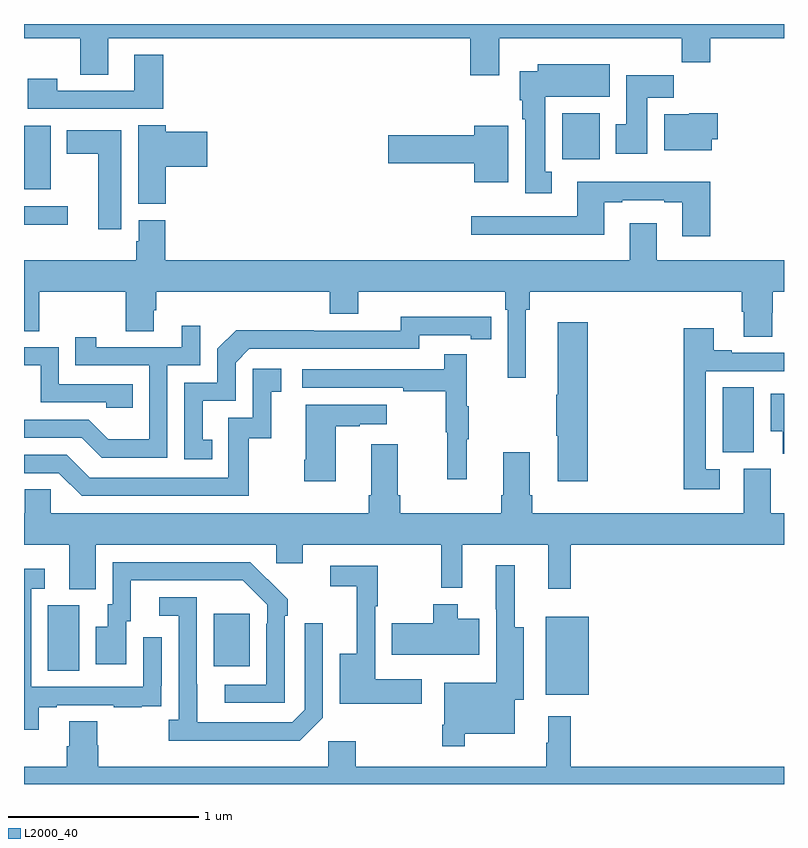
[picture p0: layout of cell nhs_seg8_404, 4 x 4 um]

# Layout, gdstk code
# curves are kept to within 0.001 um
import gdstk
lib = gdstk.Library(unit=1e-6, precision=1e-09)
def R(c, l, rs):  # rectangles x0, y0, x1, y1
    for r in rs: c.add(gdstk.rectangle(r[:2], r[2:], *l))
def P(c, l, *ps):  # polygons
    for p in ps: c.add(gdstk.Polygon(p, *l))
L2000_40 = (2000, 40)

nhs_seg8_404 = lib.new_cell('nhs_seg8_404')
R(nhs_seg8_404, L2000_40, [(139.745,1122.371,139.972,1122.781), (137.126,1122.496,137.29,1122.84), (137.999,1122.521,138.187,1122.796), (140.678,1123.645,140.842,1123.988), (137,1124.843,137.23,1124.94), (137,1125.029,137.14,1125.364), (139.832,1125.188,140.029,1125.43)])
P(nhs_seg8_404, L2000_40, [(139.501,1125.824),(140.461,1125.824),(140.461,1125.7),(140.613,1125.7),(140.613,1125.824),(141,1125.824),(141,1125.9),(137,1125.9),(137,1125.824),(137.296,1125.824),(137.296,1125.634),(137.443,1125.634),(137.443,1125.824),(139.349,1125.824),(139.349,1125.63),(139.501,1125.63)],
  [(137.732,1125.739),(137.579,1125.739),(137.579,1125.549),(137.175,1125.549),(137.175,1125.613),(137.019,1125.613),(137.019,1125.453),(137.732,1125.453)],
  [(139.777,1125.122),(139.744,1125.122),(139.744,1125.518),(140.083,1125.518),(140.083,1125.688),(139.703,1125.688),(139.703,1125.652),(139.61,1125.652),(139.61,1125.498),(139.622,1125.498),(139.622,1125.398),(139.637,1125.398),(139.637,1125.009),(139.777,1125.009)],
  [(140.281,1125.512),(140.42,1125.512),(140.42,1125.63),(140.171,1125.63),(140.171,1125.372),(140.114,1125.372),(140.114,1125.216),(140.281,1125.216)],
  [(140.62,1125.294),(140.651,1125.294),(140.651,1125.43),(140.502,1125.43),(140.502,1125.424),(140.369,1125.424),(140.369,1125.236),(140.62,1125.236)],
  [(137.747,1125.149),(137.965,1125.149),(137.965,1125.332),(137.747,1125.332),(137.747,1125.368),(137.6,1125.368),(137.6,1124.953),(137.747,1124.953)],
  [(139.549,1125.364),(139.37,1125.364),(139.37,1125.314),(138.918,1125.314),(138.918,1125.167),(139.37,1125.167),(139.37,1125.068),(139.549,1125.068)],
  [(137.512,1125.34),(137.225,1125.34),(137.225,1125.218),(137.39,1125.218),(137.39,1124.82),(137.512,1124.82)],
  [(140.613,1125.07),(139.913,1125.07),(139.913,1124.889),(139.353,1124.889),(139.353,1124.792),(140.053,1124.792),(140.053,1124.961),(140.149,1124.961),(140.149,1124.973),(140.369,1124.973),(140.369,1124.961),(140.465,1124.961),(140.465,1124.784),(140.613,1124.784)],
  [(139.642,1124.396),(139.661,1124.396),(139.661,1124.492),(140.777,1124.492),(140.777,1124.386),(140.789,1124.386),(140.789,1124.254),(140.937,1124.254),(140.937,1124.379),(140.942,1124.379),(140.942,1124.492),(141,1124.492),(141,1124.656),(140.329,1124.656),(140.329,1124.851),(140.189,1124.851),(140.189,1124.656),(137.744,1124.656),(137.744,1124.868),(137.603,1124.868),(137.603,1124.757),(137.591,1124.757),(137.591,1124.656),(137,1124.656),(137,1124.284),(137.079,1124.284),(137.079,1124.492),(137.536,1124.492),(137.536,1124.284),(137.683,1124.284),(137.683,1124.394),(137.696,1124.394),(137.696,1124.492),(138.608,1124.492),(138.608,1124.375),(138.76,1124.375),(138.76,1124.492),(139.532,1124.492),(139.532,1124.396),(139.545,1124.396),(139.545,1124.037),(139.642,1124.037)],
  [(137.99,1123.713),(137.941,1123.713),(137.941,1123.917),(138.114,1123.917),(138.114,1124.118),(138.186,1124.19),(139.08,1124.19),(139.08,1124.262),(139.352,1124.262),(139.352,1124.242),(139.46,1124.242),(139.46,1124.358),(138.984,1124.359),(138.984,1124.286),(138.524,1124.286),(138.524,1124.288),(138.116,1124.288),(138.018,1124.19),(138.018,1124.013),(137.844,1124.013),(137.844,1123.608),(137.99,1123.608)],
  [(139.967,1124.329),(139.808,1124.329),(139.808,1123.949),(139.801,1123.949),(139.801,1123.732),(139.808,1123.732),(139.808,1123.494),(139.967,1123.494)],
  [(137.754,1124.103),(137.928,1124.103),(137.928,1124.311),(137.831,1124.311),(137.831,1124.199),(137.38,1124.199),(137.38,1124.251),(137.269,1124.251),(137.269,1124.103),(137.658,1124.103),(137.658,1123.714),(137.444,1123.714),(137.34,1123.818),(137,1123.818),(137,1123.722),(137.303,1123.722),(137.408,1123.617),(137.754,1123.617)],
  [(140.662,1123.557),(140.589,1123.557),(140.589,1124.073),(141,1124.073),(141,1124.169),(140.725,1124.169),(140.725,1124.182),(140.629,1124.182),(140.629,1124.299),(140.473,1124.299),(140.473,1123.452),(140.662,1123.452)],
  [(137.573,1124.004),(137.184,1124.004),(137.184,1124.199),(137,1124.199),(137,1124.103),(137.088,1124.103),(137.088,1123.908),(137.433,1123.908),(137.433,1123.881),(137.573,1123.881)],
  [(139.331,1123.715),(139.342,1123.715),(139.342,1123.889),(139.331,1123.889),(139.331,1124.161),(139.213,1124.161),(139.213,1124.082),(138.465,1124.082),(138.465,1123.986),(138.997,1123.986),(138.997,1123.966),(139.221,1123.966),(139.221,1123.752),(139.228,1123.752),(139.228,1123.503),(139.331,1123.503)],
  [(138.184,1123.719),(138.302,1123.719),(138.302,1123.965),(138.355,1123.965),(138.355,1124.086),(138.204,1124.086),(138.204,1123.827),(138.075,1123.827),(138.075,1123.512),(137.346,1123.512),(137.226,1123.632),(137,1123.632),(137,1123.536),(137.184,1123.536),(137.304,1123.416),(138.184,1123.416)],
  [(141,1123.954),(140.93,1123.954),(140.93,1123.757),(140.993,1123.757),(140.993,1123.638),(141,1123.638)],
  [(138.64,1123.783),(138.767,1123.783),(138.767,1123.793),(138.91,1123.793),(138.91,1123.897),(138.482,1123.897),(138.482,1123.606),(138.475,1123.606),(138.475,1123.494),(138.64,1123.494)],
  [(137.377,1123.16),(138.327,1123.16),(138.327,1123.062),(138.466,1123.062),(138.466,1123.16),(139.197,1123.16),(139.197,1122.932),(139.307,1122.932),(139.307,1123.16),(139.76,1123.16),(139.76,1122.927),(139.877,1122.927),(139.877,1123.16),(141,1123.16),(141,1123.324),(140.929,1123.324),(140.929,1123.56),(140.789,1123.56),(140.789,1123.324),(139.676,1123.324),(139.676,1123.42),(139.663,1123.42),(139.663,1123.645),(139.523,1123.645),(139.523,1123.42),(139.511,1123.42),(139.511,1123.324),(138.98,1123.324),(138.98,1123.42),(138.967,1123.42),(138.967,1123.687),(138.827,1123.687),(138.827,1123.42),(138.815,1123.42),(138.815,1123.324),(137.142,1123.324),(137.142,1123.451),(137.003,1123.451),(137.003,1123.324),(137,1123.324),(137,1123.16),(137.237,1123.16),(137.237,1122.925),(137.377,1122.925)],
  [(138.372,1122.785),(138.387,1122.785),(138.387,1122.873),(138.19,1123.068),(137.466,1123.068),(137.466,1122.846),(137.441,1122.846),(137.441,1122.727),(137.378,1122.727),(137.378,1122.531),(137.539,1122.531),(137.539,1122.756),(137.563,1122.756),(137.563,1122.972),(138.151,1122.972),(138.279,1122.843),(138.279,1122.743),(138.276,1122.743),(138.276,1122.423),(138.057,1122.423),(138.057,1122.327),(138.372,1122.327)],
  [(139.321,1122.164),(139.582,1122.164),(139.582,1122.344),(139.63,1122.344),(139.63,1122.724),(139.583,1122.724),(139.583,1123.051),(139.484,1123.051),(139.484,1122.82),(139.485,1122.82),(139.485,1122.433),(139.212,1122.433),(139.212,1122.211),(139.2,1122.211),(139.2,1122.099),(139.321,1122.099)],
  [(139.093,1122.451),(138.849,1122.451),(138.849,1122.835),(138.862,1122.835),(138.862,1123.05),(138.612,1123.05),(138.612,1122.942),(138.752,1122.942),(138.752,1122.586),(138.662,1122.586),(138.662,1122.322),(139.093,1122.322)],
  [(137.077,1122.303),(137.173,1122.303),(137.173,1122.315),(137.473,1122.315),(137.473,1122.303),(137.621,1122.303),(137.621,1122.309),(137.723,1122.309),(137.723,1122.418),(137.724,1122.418),(137.724,1122.673),(137.628,1122.673),(137.628,1122.411),(137.037,1122.411),(137.037,1122.927),(137.11,1122.927),(137.11,1123.033),(137,1123.033),(137,1122.186),(137.077,1122.186)],
  [(138.573,1122.249),(138.573,1122.745),(138.477,1122.745),(138.477,1122.291),(138.411,1122.225),(137.911,1122.225),(137.91,1122.882),(137.712,1122.882),(137.712,1122.786),(137.814,1122.786),(137.814,1122.238),(137.763,1122.238),(137.763,1122.128),(138.452,1122.128)],
  [(139.396,1122.769),(139.282,1122.769),(139.282,1122.847),(139.153,1122.847),(139.153,1122.747),(138.936,1122.747),(138.936,1122.581),(139.396,1122.581)],
  [(141,1121.992),(139.877,1121.992),(139.877,1122.256),(139.76,1122.256),(139.76,1122.116),(139.749,1122.116),(139.749,1121.992),(138.747,1121.992),(138.747,1122.124),(138.6,1122.124),(138.6,1121.992),(137.39,1121.992),(137.39,1122.105),(137.385,1122.105),(137.385,1122.23),(137.237,1122.23),(137.237,1122.098),(137.225,1122.098),(137.225,1121.992),(137,1121.992),(137,1121.9),(141,1121.9)])

lib.write_gds('nhs_seg8_404.gds')
